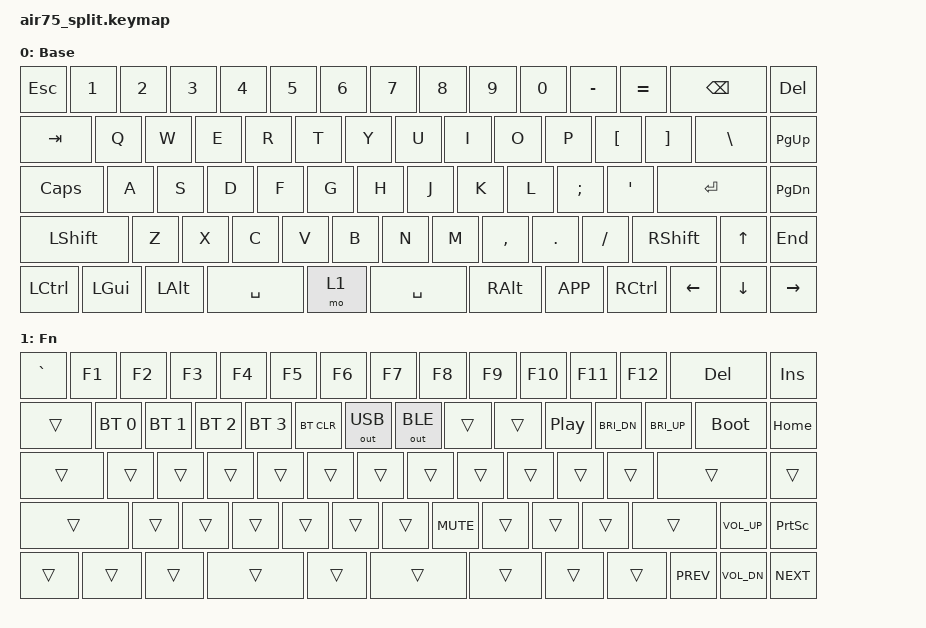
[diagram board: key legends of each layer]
#include <behaviors.dtsi>
#include <dt-bindings/zmk/keys.h>
#include <dt-bindings/zmk/bt.h>
#include <dt-bindings/zmk/outputs.h>

/*
 * Base: Air75 layout without the function row. Hold Fn (the 1.25u key at the right end of the left half's bottom row):
 *   Fn+Esc `      Fn+1..= F1..F12     Fn+Bksp Delete    Fn+Del Insert     Fn+PgUp Home    Fn+End Print Screen
 *   Fn+Q/W/E/R Bluetooth profile 1-4, Fn+T clear profile, Fn+Y USB output, Fn+U Bluetooth output
 *   Fn+[ / ] brightness, Fn+P play/pause, Fn+M mute, Fn+Up/Down volume, Fn+Left/Right previous/next track
 *   Fn+Backslash bootloader
 */
/ {
    keymap {
        compatible = "zmk,keymap";

        base_layer {
            display-name = "Base";
            bindings = <
                &kp ESC         &kp N1          &kp N2          &kp N3          &kp N4          &kp N5          &kp N6      &kp N7          &kp N8          &kp N9          &kp N0          &kp MINUS       &kp EQUAL       &kp BSPC        &kp DEL
                &kp TAB         &kp Q           &kp W           &kp E           &kp R           &kp T      &kp Y           &kp U           &kp I           &kp O           &kp P           &kp LBKT        &kp RBKT        &kp BSLH        &kp PG_UP
                &kp CAPS        &kp A           &kp S           &kp D           &kp F           &kp G      &kp H           &kp J           &kp K           &kp L           &kp SEMI        &kp SQT         &kp RET         &kp PG_DN
                &kp LSHFT       &kp Z           &kp X           &kp C           &kp V           &kp B      &kp N           &kp M           &kp COMMA       &kp DOT         &kp FSLH        &kp RSHFT       &kp UP          &kp END
                &kp LCTRL       &kp LGUI        &kp LALT        &kp SPACE       &mo 1      &kp SPACE       &kp RALT        &kp K_APP       &kp RCTRL       &kp LEFT        &kp DOWN        &kp RIGHT
            >;
        };

        fn_layer {
            display-name = "Fn";
            bindings = <
                &kp GRAVE       &kp F1          &kp F2          &kp F3          &kp F4          &kp F5          &kp F6      &kp F7          &kp F8          &kp F9          &kp F10         &kp F11         &kp F12         &kp DEL         &kp INS
                &trans          &bt BT_SEL 0    &bt BT_SEL 1    &bt BT_SEL 2    &bt BT_SEL 3    &bt BT_CLR      &out OUT_USB    &out OUT_BLE    &trans          &trans          &kp C_PP        &kp C_BRI_DN    &kp C_BRI_UP    &bootloader     &kp HOME
                &trans          &trans          &trans          &trans          &trans          &trans      &trans          &trans          &trans          &trans          &trans          &trans          &trans          &trans
                &trans          &trans          &trans          &trans          &trans          &trans      &trans          &kp C_MUTE      &trans          &trans          &trans          &trans          &kp C_VOL_UP    &kp PSCRN
                &trans          &trans          &trans          &trans          &trans      &trans          &trans          &trans          &trans          &kp C_PREV      &kp C_VOL_DN    &kp C_NEXT
            >;
        };
    };
};
